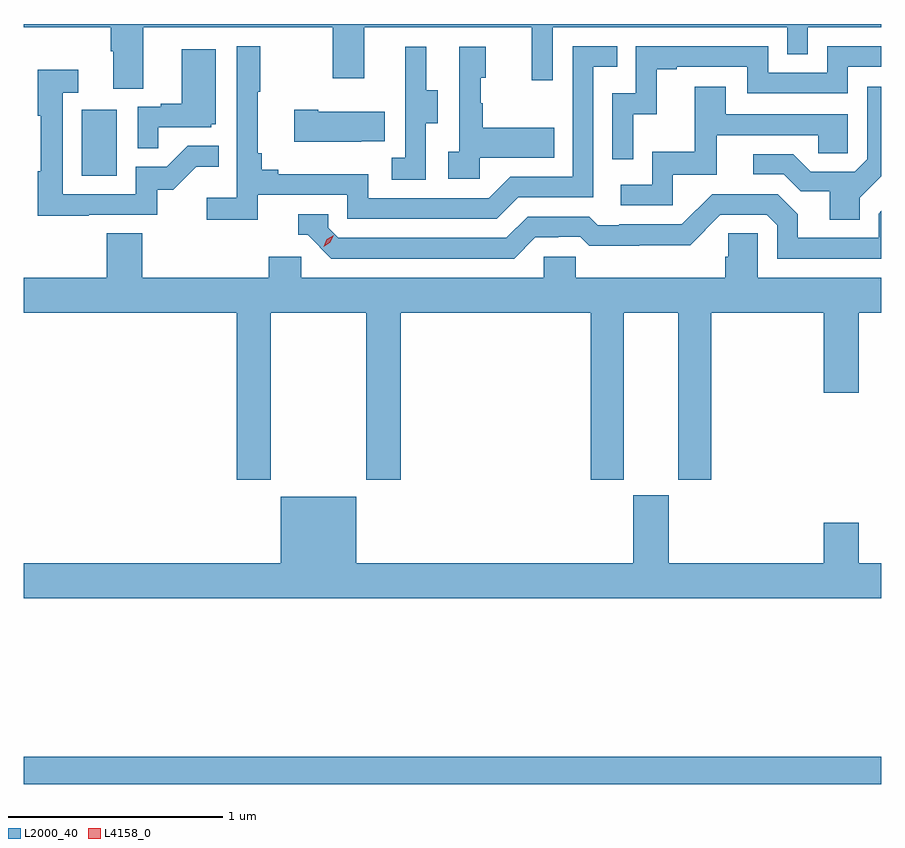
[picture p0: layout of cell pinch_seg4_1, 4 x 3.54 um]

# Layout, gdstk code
import gdstk
lib = gdstk.Library(unit=1e-6, precision=1e-09)
def R(c, l, rs):  # rectangles x0, y0, x1, y1
    for r in rs: c.add(gdstk.rectangle(r[:2], r[2:], *l))
def P(c, l, *ps):  # polygons
    for p in ps: c.add(gdstk.Polygon(p, *l))
L2000_40 = (2000, 40)
L4158_0 = (4158, 0)

pinch_seg4_1 = lib.new_cell('pinch_seg4_1')
R(pinch_seg4_1, L2000_40, [(1084.352,829.254,1088.352,829.382), (1084.622,832.092,1084.786,832.399)])
P(pinch_seg4_1, L2000_40, [(1084.909,832.784),(1085.794,832.784),(1085.794,832.545),(1085.941,832.545),(1085.941,832.784),(1086.722,832.784),(1086.722,832.536),(1086.819,832.536),(1086.819,832.784),(1087.914,832.784),(1087.914,832.657),(1088.01,832.657),(1088.01,832.784),(1088.352,832.784),(1088.352,832.799),(1084.352,832.799),(1084.352,832.784),(1084.757,832.784),(1084.757,832.672),(1084.769,832.672),(1084.769,832.498),(1084.909,832.498)],
  [(1085.444,832.002),(1085.862,832.002),(1085.862,831.891),(1086.559,831.891),(1086.658,831.99),(1087.008,831.99),(1087.008,832.599),(1087.121,832.599),(1087.121,832.695),(1086.912,832.695),(1086.912,832.086),(1086.621,832.086),(1086.522,831.987),(1085.958,831.987),(1085.958,832.099),(1085.539,832.099),(1085.539,832.118),(1085.462,832.118),(1085.462,832.195),(1085.443,832.195),(1085.443,832.483),(1085.455,832.483),(1085.455,832.696),(1085.346,832.696),(1085.346,831.988),(1085.205,831.988),(1085.205,831.886),(1085.444,831.886)],
  [(1087.194,832.379),(1087.304,832.379),(1087.304,832.587),(1087.399,832.587),(1087.399,832.599),(1087.728,832.599),(1087.728,832.476),(1088.196,832.476),(1088.196,832.599),(1088.352,832.599),(1088.352,832.695),(1088.1,832.695),(1088.1,832.572),(1087.824,832.572),(1087.824,832.695),(1087.206,832.695),(1087.206,832.476),(1087.098,832.476),(1087.098,832.167),(1087.194,832.167)],
  [(1086.228,832.336),(1086.283,832.336),(1086.283,832.491),(1086.229,832.491),(1086.229,832.693),(1086.131,832.693),(1086.131,832.479),(1086.132,832.479),(1086.132,832.175),(1086.069,832.175),(1086.069,832.072),(1086.228,832.072)],
  [(1086.48,832.175),(1086.827,832.175),(1086.827,832.315),(1086.493,832.315),(1086.493,832.43),(1086.483,832.43),(1086.483,832.548),(1086.508,832.548),(1086.508,832.693),(1086.384,832.693),(1086.384,832.202),(1086.333,832.202),(1086.333,832.077),(1086.48,832.077)],
  [(1084.979,832.317),(1085.226,832.317),(1085.226,832.332),(1085.248,832.332),(1085.248,832.681),(1085.09,832.681),(1085.09,832.426),(1084.991,832.426),(1084.991,832.413),(1084.884,832.413),(1084.884,832.219),(1084.979,832.219)],
  [(1084.655,831.909),(1084.974,831.909),(1084.974,832.026),(1085.05,832.026),(1085.157,832.133),(1085.261,832.133),(1085.261,832.232),(1085.117,832.232),(1085.019,832.134),(1084.875,832.134),(1084.875,832.005),(1084.533,832.005),(1084.533,832.479),(1084.606,832.479),(1084.606,832.585),(1084.417,832.585),(1084.417,832.372),(1084.432,832.372),(1084.432,832.112),(1084.417,832.112),(1084.417,831.904),(1084.655,831.904)],
  [(1088.251,831.988),(1088.352,832.089),(1088.352,832.507),(1088.286,832.507),(1088.286,832.167),(1088.229,832.11),(1088.023,832.11),(1087.942,832.191),(1087.755,832.191),(1087.755,832.098),(1087.896,832.098),(1087.976,832.018),(1088.111,832.018),(1088.111,831.886),(1088.251,831.886)],
  [(1087.38,832.095),(1087.585,832.095),(1087.585,832.281),(1088.059,832.281),(1088.059,832.197),(1088.196,832.197),(1088.196,832.377),(1087.627,832.377),(1087.627,832.507),(1087.483,832.507),(1087.483,832.204),(1087.284,832.204),(1087.284,832.05),(1087.137,832.05),(1087.137,831.954),(1087.38,831.954)],
  [(1085.927,832.253),(1086.035,832.253),(1086.035,832.39),(1085.725,832.39),(1085.725,832.398),(1085.613,832.398),(1085.613,832.25),(1085.927,832.25)],
  [(1086.739,831.804),(1086.846,831.804),(1086.846,831.807),(1086.949,831.807),(1086.991,831.765),(1087.224,831.765),(1087.224,831.767),(1087.46,831.767),(1087.602,831.909),(1087.818,831.909),(1087.866,831.861),(1087.866,831.705),(1088.352,831.705),(1088.352,831.927),(1088.34,831.915),(1088.34,831.801),(1087.963,831.801),(1087.963,831.911),(1087.869,832.005),(1087.563,832.005),(1087.422,831.864),(1087.129,831.864),(1087.129,831.861),(1087.03,831.861),(1086.991,831.9),(1086.702,831.9),(1086.603,831.801),(1085.82,831.801),(1085.772,831.849),(1085.772,831.912),(1085.633,831.912),(1085.633,831.816),(1085.676,831.816),(1085.787,831.705),(1086.64,831.705)],
  [(1085.505,831.452),(1085.95,831.452),(1085.95,830.673),(1086.11,830.673),(1086.11,831.452),(1086.998,831.452),(1086.998,830.673),(1087.15,830.673),(1087.15,831.452),(1087.406,831.452),(1087.406,830.673),(1087.559,830.673),(1087.559,831.452),(1088.084,831.452),(1088.084,831.078),(1088.248,831.078),(1088.248,831.452),(1088.352,831.452),(1088.352,831.616),(1087.776,831.616),(1087.776,831.824),(1087.639,831.824),(1087.639,831.714),(1087.625,831.714),(1087.625,831.616),(1086.927,831.616),(1086.927,831.714),(1086.777,831.714),(1086.777,831.616),(1085.646,831.616),(1085.646,831.714),(1085.495,831.714),(1085.495,831.616),(1084.904,831.616),(1084.904,831.824),(1084.739,831.824),(1084.739,831.616),(1084.352,831.616),(1084.352,831.452),(1085.345,831.452),(1085.345,830.673),(1085.505,830.673)],
  [(1088.352,830.284),(1088.248,830.284),(1088.248,830.473),(1088.084,830.473),(1088.084,830.284),(1087.36,830.284),(1087.36,830.601),(1087.196,830.601),(1087.196,830.284),(1085.902,830.284),(1085.902,830.593),(1085.552,830.593),(1085.552,830.284),(1084.352,830.284),(1084.352,830.12),(1088.352,830.12)])
P(pinch_seg4_1, L4158_0, [(1085.751,831.761),(1085.751,831.761),(1085.766,831.794),(1085.797,831.814),(1085.797,831.814),(1085.797,831.814),(1085.782,831.781),(1085.751,831.761)])

lib.write_gds('pinch_seg4_1.gds')
